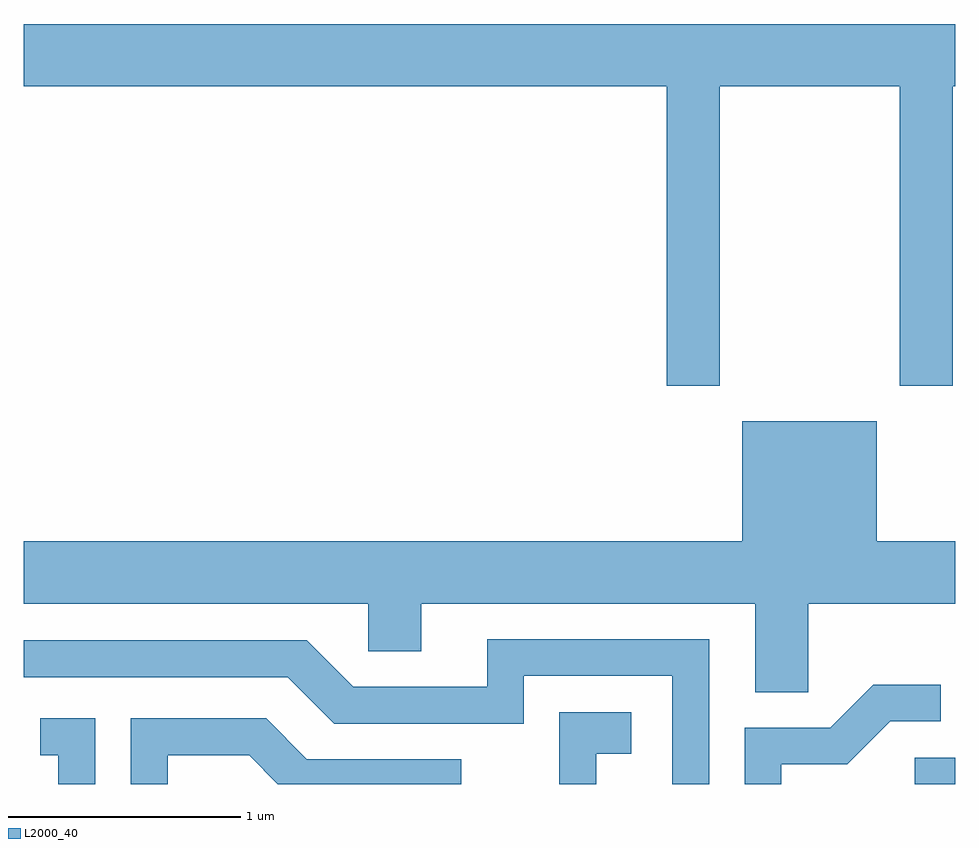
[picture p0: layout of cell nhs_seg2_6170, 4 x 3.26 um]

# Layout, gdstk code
import gdstk
lib = gdstk.Library(unit=1e-6, precision=1e-09)
def R(c, l, rs):  # rectangles x0, y0, x1, y1
    for r in rs: c.add(gdstk.rectangle(r[:2], r[2:], *l))
def P(c, l, *ps):  # polygons
    for p in ps: c.add(gdstk.Polygon(p, *l))
L2000_40 = (2000, 40)

nhs_seg2_6170 = lib.new_cell('nhs_seg2_6170')
R(nhs_seg2_6170, L2000_40, [(371.436,1009.802,371.611,1009.914)])
P(nhs_seg2_6170, L2000_40, [(370.599,1012.796),(371.371,1012.796),(371.371,1011.511),(371.599,1011.511),(371.599,1012.796),(371.611,1012.796),(371.611,1013.064),(367.611,1013.064),(367.611,1012.796),(370.371,1012.796),(370.371,1011.511),(370.599,1011.511)],
  [(370.979,1010.576),(371.611,1010.576),(371.611,1010.844),(371.274,1010.844),(371.274,1011.359),(370.696,1011.359),(370.696,1010.844),(367.611,1010.844),(367.611,1010.576),(369.091,1010.576),(369.091,1010.371),(369.319,1010.371),(369.319,1010.576),(370.751,1010.576),(370.751,1010.196),(370.979,1010.196)],
  [(370.554,1010.424),(369.601,1010.424),(369.601,1010.219),(369.027,1010.219),(368.827,1010.419),(367.611,1010.419),(367.611,1010.261),(368.744,1010.261),(368.944,1010.061),(369.759,1010.061),(369.759,1010.266),(370.396,1010.266),(370.396,1009.802),(370.554,1009.802)],
  [(370.864,1009.886),(371.147,1009.886),(371.332,1010.071),(371.548,1010.071),(371.548,1010.229),(371.259,1010.229),(371.074,1010.044),(370.706,1010.044),(370.706,1009.802),(370.864,1009.802)],
  [(370.069,1009.931),(370.219,1009.931),(370.219,1010.109),(369.911,1010.109),(369.911,1009.802),(370.069,1009.802)],
  [(367.919,1010.084),(367.683,1010.084),(367.683,1009.926),(367.761,1009.926),(367.761,1009.802),(367.919,1009.802)],
  [(368.229,1009.926),(368.579,1009.926),(368.703,1009.802),(369.489,1009.802),(369.489,1009.909),(368.827,1009.909),(368.652,1010.084),(368.071,1010.084),(368.071,1009.802),(368.229,1009.802)])

lib.write_gds('nhs_seg2_6170.gds')
